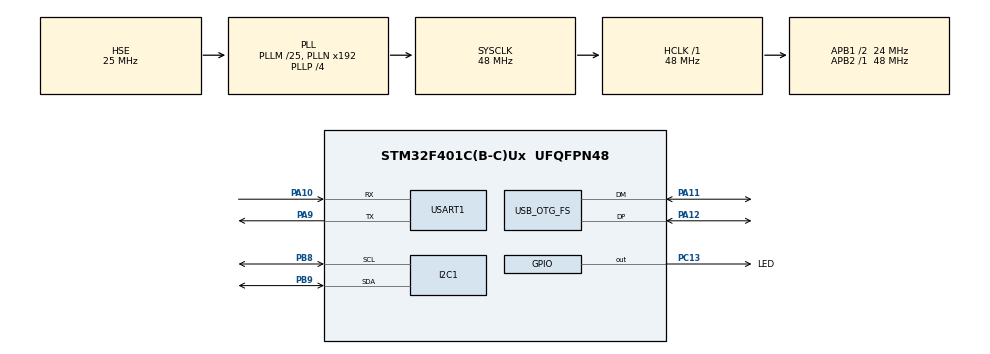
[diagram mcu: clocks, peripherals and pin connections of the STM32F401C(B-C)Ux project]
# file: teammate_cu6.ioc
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Mcu.Family=STM32F4
Mcu.Name=STM32F401C(B-C)Ux
Mcu.Package=UFQFPN48
NVIC.OTG_FS_IRQn=true\:0\:0\:false\:false\:true\:false\:true\:true
NVIC.PriorityGroup=NVIC_PRIORITYGROUP_4
PA10.Mode=Asynchronous
PA10.Signal=USART1_RX
PA11.Mode=Device_Only
PA11.Signal=USB_OTG_FS_DM
PA12.Mode=Device_Only
PA12.Signal=USB_OTG_FS_DP
PA9.Mode=Asynchronous
PA9.Signal=USART1_TX
PB8.Mode=I2C
PB8.Signal=I2C1_SCL
PB9.Mode=I2C
PB9.Signal=I2C1_SDA
PC13-ANTI_TAMP.GPIO_Label=LED
PC13-ANTI_TAMP.Signal=GPIO_Output
PH0\ -\ OSC_IN.Mode=HSE-External-Oscillator
PH0\ -\ OSC_IN.Signal=RCC_OSC_IN
PH1\ -\ OSC_OUT.Mode=HSE-External-Oscillator
PH1\ -\ OSC_OUT.Signal=RCC_OSC_OUT
ProjectManager.HeapSize=0x200
ProjectManager.StackSize=0x400
ProjectManager.TargetToolchain=STM32CubeIDE
RCC.48MHZClocksFreq_Value=48000000
RCC.AHBFreq_Value=48000000
RCC.APB1CLKDivider=RCC_HCLK_DIV2
RCC.APB1Freq_Value=24000000
RCC.APB1TimFreq_Value=48000000
RCC.APB2Freq_Value=48000000
RCC.APB2TimFreq_Value=48000000
RCC.CortexFreq_Value=48000000
RCC.HCLKFreq_Value=48000000
RCC.HSE_VALUE=25000000
RCC.HSI_VALUE=16000000
RCC.LSE_VALUE=32768
RCC.PLLM=25
RCC.PLLP=RCC_PLLP_DIV4
RCC.SYSCLKFreq_VALUE=48000000
RCC.SYSCLKSource=RCC_SYSCLKSOURCE_PLLCLK
RCC.VCOOutputFreq_Value=192000000
USART1.VirtualMode=VM_ASYNC
USB_DEVICE.CLASS_NAME_FS=CDC
USB_DEVICE.VirtualMode=Cdc
USB_DEVICE.VirtualModeFS=Cdc_FS
USB_OTG_FS.VirtualMode=Device_Only
VP_USB_DEVICE_VS_USB_DEVICE_CDC_FS.Mode=CDC_FS
board=custom

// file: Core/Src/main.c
/* USER CODE BEGIN Header */
/**
  ******************************************************************************
  * @file           : main.c
  * @brief          : Main program body
  ******************************************************************************
  * @attention
  *
  * Copyright (c) 2026 STMicroelectronics.
  * All rights reserved.
  *
  * This software is licensed under terms that can be found in the LICENSE file
  * in the root directory of this software component.
  * If no LICENSE file comes with this software, it is provided AS-IS.
  *
  ******************************************************************************
  */
/* USER CODE END Header */
#include "main.h"
#include "usb_device.h"

/* USER CODE BEGIN Includes */
#include <stdio.h>
#include <mavlink.h>
#include "mpu6050.h"
#include "complementary.h"
#include "kalman.h"
#include "usbd_cdc_if.h"

/* USER CODE END Includes */

/* USER CODE BEGIN PTD */
typedef struct
{
  float comple_roll;
  float comple_pitch;
  float kalman_roll;
  float kalman_pitch;
} UART_MPU;
/* USER CODE END PTD */

I2C_HandleTypeDef hi2c1;

UART_HandleTypeDef huart1;

/* USER CODE BEGIN PV */
MPU6050_t mpu;
HAL_StatusTypeDef mpu_status;
volatile UART_MPU uart;
/* USER CODE END PV */

void SystemClock_Config(void);
static void MX_GPIO_Init(void);
static void MX_I2C1_Init(void);
static void MX_USART1_UART_Init(void);

/* USER CODE BEGIN 0 */
static void format_float(char *buf, size_t size, float val)
{
  if (val < 0.0f)
  {
    val = -val;
    int32_t int_part = (int32_t)val;
    uint32_t frac_part = (uint32_t)((val - (float)int_part) * 100.0f + 0.5f);
    if (frac_part >= 100)
    {
      int_part++;
      frac_part -= 100;
    }
    snprintf(buf, size, "-%ld.%02lu", (long)int_part, (long)frac_part);
  }
  else
  {
    int32_t int_part = (int32_t)val;
    uint32_t frac_part = (uint32_t)((val - (float)int_part) * 100.0f + 0.5f);
    if (frac_part >= 100)
    {
      int_part++;
      frac_part -= 100;
    }
    snprintf(buf, size, "%ld.%02lu", (long)int_part, (long)frac_part);
  }
}

/* USER CODE END 0 */

int main(void)
{

  /* MCU Configuration--------------------------------------------------------*/

  /* Reset of all peripherals, Initializes the Flash interface and the Systick. */
  HAL_Init();

  /* Configure the system clock */
  SystemClock_Config();

  /* Initialize all configured peripherals */
  MX_GPIO_Init();
  MX_I2C1_Init();
  MX_USB_DEVICE_Init();
  MX_USART1_UART_Init();
  /* USER CODE BEGIN 2 */
  MPU6050_Init(&mpu, &hi2c1);
    while (MPU6050_Calibrate(&mpu, 500) != HAL_OK)
    {
      HAL_GPIO_WritePin(LED_GPIO_Port, LED_Pin, 1);
      HAL_Delay(100);
    }
    HAL_GPIO_WritePin(LED_GPIO_Port, LED_Pin, 0);
  /* USER CODE END 2 */

  /* Infinite loop */
    /* USER CODE BEGIN WHILE */
      while (1)
      {
        mpu_status = MPU6050_ReadAll(&mpu);
        if (mpu_status == HAL_OK)
        {
          /* Hitung estimasi sudut Roll & Pitch (Kalman dan Complementary) */
          MPU6050_Update_Kalman(&mpu);
          MPU6050_Update_Angle(&mpu);

          /* Simpan ke struct global untuk pantauan Live Expressions */
          uart.comple_roll  = mpu.roll;
          uart.comple_pitch = mpu.pitch;
          uart.kalman_roll  = (float)mpu.roll_k;
          uart.kalman_pitch = (float)mpu.pitch_k;

          /* Deklarasi wadah pesan MAVLink dan buffer transmisi byte */
          mavlink_message_t msg;
          uint8_t tx_buf[MAVLINK_MAX_PACKET_LEN];
          uint16_t len;

          /* ====================================================================
           * 1. MEMBUNGKUS PESAN UNTUK COMPLEMENTARY FILTER
           * ==================================================================== */
          // Menggunakan fungsi serialisasi bawaan untuk memasukkan data sudut
          // Complementary ke dalam struktur pesan standar ATTITUDE
          mavlink_msg_attitude_pack(
              1,              // System ID (ID Drone/Sistem, misal: 1)
              200,            // Component ID (Gunakan 200 sebagai penanda sensor Complementary)
              &msg,           // Pointer ke variabel penampung struktur pesan
              HAL_GetTick(),  // Waktu sejak boot (milidetik)
              mpu.roll,       // Nilai sudut Roll dari Complementary
              mpu.pitch,      // Nilai sudut Pitch dari Complementary
              0.0f,           // Nilai Yaw (diisi 0 jika belum ada data MPU yaw)
              0.0f, 0.0f, 0.0f// Kecepatan sudut sumbu roll, pitch, yaw (diabaikan/diisi 0)
          );

          // Konversi struktur pesan MAVLink menjadi buffer byte biner siap kirim
          len = mavlink_msg_to_send_buffer(tx_buf, &msg);

          // Kirim buffer biner tersebut via USB VCP (Blue Pill / STM32F401)
          CDC_Transmit_FS(tx_buf, len);

          /* ====================================================================
           * 2. MEMBUNGKUS PESAN UNTUK KALMAN FILTER
           * ==================================================================== */
          // Gunakan fungsi yang sama, tetapi dengan Component ID 201
          // dan variabel perhitungan Kalman dari dalam struct
          mavlink_msg_attitude_pack(
              1,              // System ID (Tetap 1 karena dari board yang sama)
              201,            // Component ID (Gunakan 201 sebagai penanda pembanding Kalman)
              &msg,           // Memakai ulang variabel &msg yang sama
              HAL_GetTick(),
              mpu.roll_k,     // Nilai sudut Roll hasil Kalman (atau mpu.KalmanAngleX)
              mpu.pitch_k,    // Nilai sudut Pitch hasil Kalman (atau mpu.KalmanAngleY)
              0.0f,
              0.0f, 0.0f, 0.0f
          );

          // Konversi struktur pesan MAVLink yang kedua menjadi buffer byte biner
          len = mavlink_msg_to_send_buffer(tx_buf, &msg);

          // Kirim paket kedua menyusul di belakang paket pertama
          CDC_Transmit_FS(tx_buf, len);
        }

        /* Heartbeat LED setiap 500 ms */
        static uint32_t last_led_toggle = 0;
        if (HAL_GetTick() - last_led_toggle >= 500)
        {
          last_led_toggle = HAL_GetTick();
          HAL_GPIO_TogglePin(LED_GPIO_Port, LED_Pin);
        }

        HAL_Delay(20); /* Sampling 50 Hz agar animasi 3D di Python lebih mulus */
        /* USER CODE END WHILE */

  }
}

void SystemClock_Config(void)
{
  RCC_OscInitTypeDef RCC_OscInitStruct = {0};
  RCC_ClkInitTypeDef RCC_ClkInitStruct = {0};

  /** Configure the main internal regulator output voltage
  */
  __HAL_RCC_PWR_CLK_ENABLE();
  __HAL_PWR_VOLTAGESCALING_CONFIG(PWR_REGULATOR_VOLTAGE_SCALE2);

  /** Initializes the RCC Oscillators according to the specified parameters
  * in the RCC_OscInitTypeDef structure.
  */
  RCC_OscInitStruct.OscillatorType = RCC_OSCILLATORTYPE_HSE;
  RCC_OscInitStruct.HSEState = RCC_HSE_ON;
  RCC_OscInitStruct.PLL.PLLState = RCC_PLL_ON;
  RCC_OscInitStruct.PLL.PLLSource = RCC_PLLSOURCE_HSE;
  RCC_OscInitStruct.PLL.PLLM = 25;
  RCC_OscInitStruct.PLL.PLLN = 192;
  RCC_OscInitStruct.PLL.PLLP = RCC_PLLP_DIV4;
  RCC_OscInitStruct.PLL.PLLQ = 4;
  if (HAL_RCC_OscConfig(&RCC_OscInitStruct) != HAL_OK)
  {
    Error_Handler();
  }

  /** Initializes the CPU, AHB and APB buses clocks
  */
  RCC_ClkInitStruct.ClockType = RCC_CLOCKTYPE_HCLK|RCC_CLOCKTYPE_SYSCLK
                              |RCC_CLOCKTYPE_PCLK1|RCC_CLOCKTYPE_PCLK2;
  RCC_ClkInitStruct.SYSCLKSource = RCC_SYSCLKSOURCE_PLLCLK;
  RCC_ClkInitStruct.AHBCLKDivider = RCC_SYSCLK_DIV1;
  RCC_ClkInitStruct.APB1CLKDivider = RCC_HCLK_DIV2;
  RCC_ClkInitStruct.APB2CLKDivider = RCC_HCLK_DIV1;

  if (HAL_RCC_ClockConfig(&RCC_ClkInitStruct, FLASH_LATENCY_1) != HAL_OK)
  {
    Error_Handler();
  }
}

static void MX_I2C1_Init(void)
{

  hi2c1.Instance = I2C1;
  hi2c1.Init.ClockSpeed = 100000;
  hi2c1.Init.DutyCycle = I2C_DUTYCYCLE_2;
  hi2c1.Init.OwnAddress1 = 0;
  hi2c1.Init.AddressingMode = I2C_ADDRESSINGMODE_7BIT;
  hi2c1.Init.DualAddressMode = I2C_DUALADDRESS_DISABLE;
  hi2c1.Init.OwnAddress2 = 0;
  hi2c1.Init.GeneralCallMode = I2C_GENERALCALL_DISABLE;
  hi2c1.Init.NoStretchMode = I2C_NOSTRETCH_DISABLE;
  if (HAL_I2C_Init(&hi2c1) != HAL_OK)
  {
    Error_Handler();
  }

}

static void MX_USART1_UART_Init(void)
{

  huart1.Instance = USART1;
  huart1.Init.BaudRate = 115200;
  huart1.Init.WordLength = UART_WORDLENGTH_8B;
  huart1.Init.StopBits = UART_STOPBITS_1;
  huart1.Init.Parity = UART_PARITY_NONE;
  huart1.Init.Mode = UART_MODE_TX_RX;
  huart1.Init.HwFlowCtl = UART_HWCONTROL_NONE;
  huart1.Init.OverSampling = UART_OVERSAMPLING_16;
  if (HAL_UART_Init(&huart1) != HAL_OK)
  {
    Error_Handler();
  }

}

static void MX_GPIO_Init(void)
{
  GPIO_InitTypeDef GPIO_InitStruct = {0};

  /* GPIO Ports Clock Enable */
  __HAL_RCC_GPIOC_CLK_ENABLE();
  __HAL_RCC_GPIOH_CLK_ENABLE();
  __HAL_RCC_GPIOA_CLK_ENABLE();
  __HAL_RCC_GPIOB_CLK_ENABLE();

  /*Configure GPIO pin Output Level */
  HAL_GPIO_WritePin(LED_GPIO_Port, LED_Pin, GPIO_PIN_RESET);

  /*Configure GPIO pin : LED_Pin */
  GPIO_InitStruct.Pin = LED_Pin;
  GPIO_InitStruct.Mode = GPIO_MODE_OUTPUT_PP;
  GPIO_InitStruct.Pull = GPIO_NOPULL;
  GPIO_InitStruct.Speed = GPIO_SPEED_FREQ_LOW;
  HAL_GPIO_Init(LED_GPIO_Port, &GPIO_InitStruct);

}

void Error_Handler(void)
{
  __disable_irq();
  while (1)
  {
  }
}
